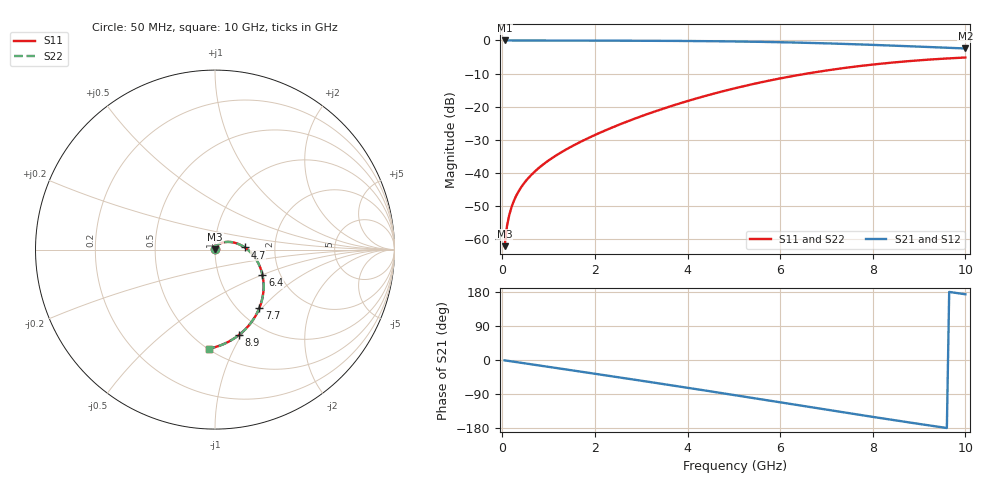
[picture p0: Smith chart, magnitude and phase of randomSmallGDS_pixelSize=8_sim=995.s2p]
! freq	dB(S11)	phase(S11)	dB(S12)	phase(S12)
!  dB(S21)	phase(S21)	dB(S22)	phase(S22)
!S-par simulation data
#  GHz  S  DB  R 50
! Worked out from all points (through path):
!   200 points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, 50 MHz to 10 GHz, reference 50 ohm
!   highest |S21| = 0.00 dB at 50 MHz (marker M1); lowest = -2.4 dB at 10 GHz (marker M2)
!   group delay of S21, straight-line fit = 52.4 ps
!   lowest |S11| = -62.2 dB at 50 MHz (marker M3), VSWR 1.00, Z = 50 + j0.0775 ohm
!   |S11| at or under -10 dB: start of sweep to 6.584 GHz
!   |S22| runs from -62.2 to -5.2 dB; largest |S21 - S12| = 0
!   S11 on the Smith chart (normalised r, x): 50 MHz: 1.00, +0.00; 4.7 GHz: 1.40, +0.03; 6.4 GHz: 1.62, -0.51; 7.7 GHz: 1.24, -0.97; 8.9 GHz: 0.77, -0.97; 10 GHz: 0.51, -0.81
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0.05  -62.18 84.7  -0.00 -0.9  -0.00 -0.9  -62.18 84.7
0.1  -56.22 84.9  -0.00 -1.8  -0.00 -1.8  -56.22 84.9
0.15  -52.77 84.1  -0.00 -2.7  -0.00 -2.7  -52.77 84.1
0.2  -50.34 83.1  -0.00 -3.7  -0.00 -3.7  -50.34 83.1
0.3  -46.95 81.4  -0.01 -5.5  -0.01 -5.5  -46.95 81.4
0.45  -43.52 79.1  -0.01 -8.2  -0.01 -8.2  -43.52 79.1
0.65  -40.30 76.3  -0.02 -11.8  -0.02 -11.8  -40.30 76.3
0.95  -36.77 71.7  -0.02 -17.2  -0.02 -17.2  -36.77 71.8
1.3  -33.58 66.1  -0.03 -23.6  -0.03 -23.6  -33.58 66.1
1.75  -30.22 58.5  -0.04 -31.7  -0.04 -31.7  -30.22 58.5
2.6  -25.03 43.3  -0.07 -47.2  -0.07 -47.2  -25.03 43.4
3.4  -20.96 28.6  -0.11 -62.0  -0.11 -62.0  -20.96 28.6
4.05  -18.10 16.5  -0.17 -74.2  -0.17 -74.2  -18.10 16.5
4.7  -15.58 4.2  -0.25 -86.6  -0.25 -86.6  -15.58 4.2
5.05  -14.36 -2.5  -0.31 -93.3  -0.31 -93.3  -14.36 -2.5
5.7  -12.32 -14.9  -0.45 -105.9  -0.45 -105.9  -12.32 -14.9
6.4  -10.44 -28.3  -0.65 -119.4  -0.65 -119.4  -10.44 -28.3
6.7  -9.73 -34.0  -0.76 -125.2  -0.76 -125.2  -9.73 -34.0
7.7  -7.77 -52.9  -1.19 -144.5  -1.19 -144.5  -7.77 -52.8
8.35  -6.78 -64.7  -1.51 -156.7  -1.51 -156.7  -6.78 -64.7
8.9  -6.11 -74.5  -1.81 -166.9  -1.81 -166.9  -6.11 -74.5
10  -5.15 -93.3  -2.42 173.5  -2.42 173.5  -5.15 -93.3
